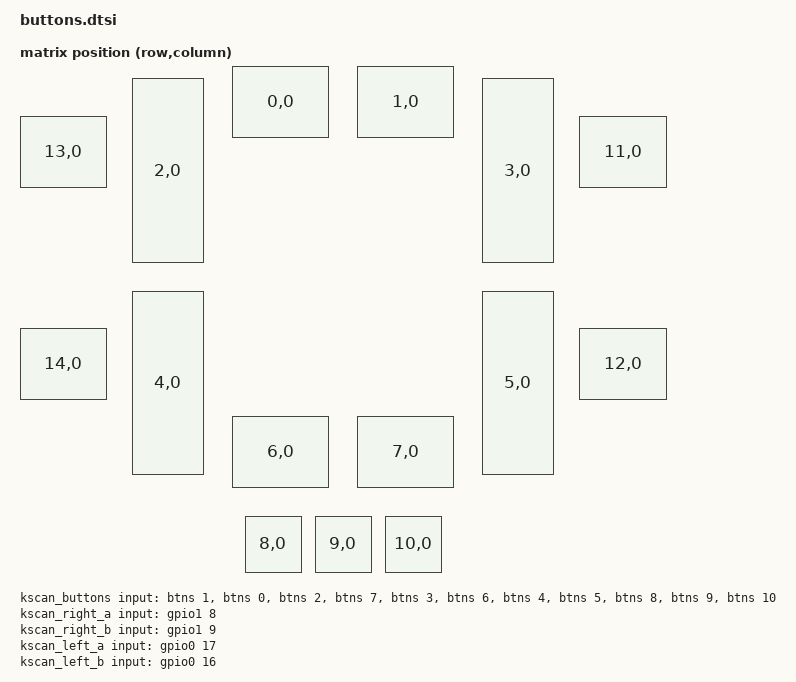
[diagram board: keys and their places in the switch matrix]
/ {
    btns: connector {
        compatible = "efogtech-trackball-0";
        #gpio-cells = <2>;
        gpio-map-mask = <0xffffffff 0xffffffc0>;
        gpio-map-pass-thru = <0 0x3f>;
        gpio-map
            // Original eight buttons
            = <0 0 &gpio0 26 0>
            , <1 0 &gpio0 27 0>
            , <2 0 &gpio0 1 0>
            , <3 0 &gpio0 21 0>
            , <4 0 &gpio0 8 0>
            , <5 0 &gpio0 7 0>
            , <6 0 &gpio0 5 0>
            , <7 0 &gpio0 4 0>

            // IO1, IO2 and IO3
            , <8 0 &gpio0 11 0>
            , <9 0 &gpio0 15 0>
            , <10 0 &gpio0 20 0>;
    };

    /*
     * Composite scanner:
     * - Original buttons and IO1/IO2/IO3
     * - Two switches replacing the right encoder
     * - Two switches replacing the left encoder
     *
     * Each former encoder pin has its own scanner to avoid
     * the multi-GPIO scanner bootloop encountered previously.
     */
    kscan0: kscan_composite {
        compatible = "zmk,kscan-composite";
        rows = <15>;
        columns = <1>;

        original_buttons {
            kscan = <&kscan_buttons>;
        };

        right_switch_a {
            kscan = <&kscan_right_a>;
            row-offset = <11>;
        };

        right_switch_b {
            kscan = <&kscan_right_b>;
            row-offset = <12>;
        };

        left_switch_a {
            kscan = <&kscan_left_a>;
            row-offset = <13>;
        };

        left_switch_b {
            kscan = <&kscan_left_b>;
            row-offset = <14>;
        };
    };

    kscan_buttons: kscan_buttons {
        compatible = "zmk,kscan-gpio-direct";
        input-gpios
            // Original eight buttons
            = <&btns 1 (GPIO_ACTIVE_LOW)>
            , <&btns 0 (GPIO_ACTIVE_LOW)>
            , <&btns 2 (GPIO_ACTIVE_LOW)>
            , <&btns 7 (GPIO_ACTIVE_LOW)>
            , <&btns 3 (GPIO_ACTIVE_LOW)>
            , <&btns 6 (GPIO_ACTIVE_LOW)>
            , <&btns 4 (GPIO_ACTIVE_LOW)>
            , <&btns 5 (GPIO_ACTIVE_LOW)>

            // IO1, IO2 and IO3
            , <&btns 8 (GPIO_ACTIVE_LOW | GPIO_PULL_UP)>
            , <&btns 9 (GPIO_ACTIVE_LOW | GPIO_PULL_UP)>
            , <&btns 10 (GPIO_ACTIVE_LOW | GPIO_PULL_UP)>
            ;
    };

    // P1.08: former right-encoder A pin
    kscan_right_a: kscan_right_a {
        compatible = "zmk,kscan-gpio-direct";
        input-gpios
            = <&gpio1 8 (GPIO_ACTIVE_LOW | GPIO_PULL_UP)>
            ;
    };

    // P1.09: former right-encoder B pin
    kscan_right_b: kscan_right_b {
        compatible = "zmk,kscan-gpio-direct";
        input-gpios
            = <&gpio1 9 (GPIO_ACTIVE_LOW | GPIO_PULL_UP)>
            ;
    };

    // P0.17: former left-encoder A pin
    kscan_left_a: kscan_left_a {
        compatible = "zmk,kscan-gpio-direct";
        input-gpios
            = <&gpio0 17 (GPIO_ACTIVE_LOW | GPIO_PULL_UP)>
            ;
    };

    // P0.16: former left-encoder B pin
    kscan_left_b: kscan_left_b {
        compatible = "zmk,kscan-gpio-direct";
        input-gpios
            = <&gpio0 16 (GPIO_ACTIVE_LOW | GPIO_PULL_UP)>
            ;
    };

    default_transform: keymap_transform_0 {
        compatible = "zmk,matrix-transform";
        rows = <15>;
        columns = <1>;
        map =
            <
                // Original eight buttons
                RC(0, 0)  RC(1, 0)
                RC(2, 0)  RC(3, 0)
                RC(4, 0)  RC(5, 0)
                RC(6, 0)  RC(7, 0)

                // IO1, IO2 and IO3
                RC(8, 0)  RC(9, 0)  RC(10, 0)

                // Two switches replacing the right encoder
                RC(11, 0) RC(12, 0)

                // Two switches replacing the left encoder
                RC(13, 0) RC(14, 0)
            >;
    };

    physical_layout0: physical_layout_0 {
        compatible = "zmk,physical-layout";
        display-name = "15 Buttons";

        transform = <&default_transform>;
        kscan = <&kscan0>;

                keys  //               w     h     x     y     rot  rx   ry

        /*
         * Original eight buttons.
         * Their relative positions and dimensions are unchanged.
         * The complete group is shifted right by 150 units to
         * create space for the two left-side switches.
         */
        = <&key_physical_attrs 200   150   425   0     0    8    8>
        , <&key_physical_attrs 200   150   675   0     0    8    8>
        , <&key_physical_attrs 150   375   225   25    0    8    8>
        , <&key_physical_attrs 150   375   925   25    0    8    8>
        , <&key_physical_attrs 150   375   225   450   0    8    8>
        , <&key_physical_attrs 150   375   925   450   0    8    8>
        , <&key_physical_attrs 200   150   425   700   0    8    8>
        , <&key_physical_attrs 200   150   675   700   0    8    8>

        // IO1, IO2 and IO3: centred along the bottom
        , <&key_physical_attrs 120   120   450   900   0    8    8>
        , <&key_physical_attrs 120   120   590   900   0    8    8>
        , <&key_physical_attrs 120   120   730   900   0    8    8>

        // Two switches replacing the right encoder
        , <&key_physical_attrs 180   150   1120  100   0    8    8>
        , <&key_physical_attrs 180   150   1120  525   0    8    8>

        // Two switches replacing the left encoder
        , <&key_physical_attrs 180   150   0     100   0    8    8>
        , <&key_physical_attrs 180   150   0     525   0    8    8>
        ;
    };

    position_map {
        compatible = "zmk,physical-layout-position-map";
        complete;

        layout1: layout1 {
            physical-layout = <&physical_layout0>;
            positions =
                <0>, <1>, <2>, <3>, <4>, <5>, <6>, <7>,
                <8>, <9>, <10>, <11>, <12>, <13>, <14>;
        };
    };
};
